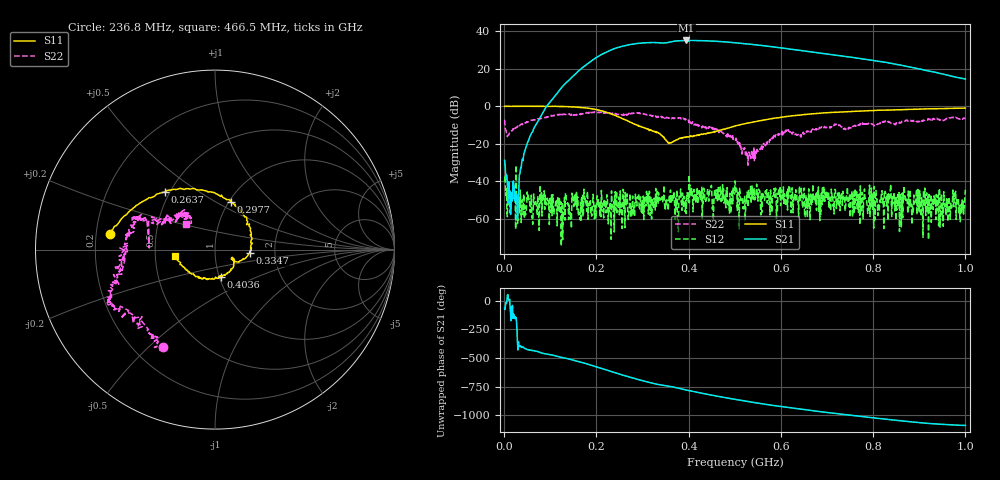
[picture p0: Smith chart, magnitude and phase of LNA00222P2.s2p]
! Created with skrf 1.9.0 (http://scikit-rf.org).
# Hz S RI R 50.0
!freq ReS11 ImS11 ReS21 ImS21 ReS12 ImS12 ReS22 ImS22
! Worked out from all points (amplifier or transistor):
!   1001 points, 1 MHz to 1 GHz, reference 50 ohm
!   highest |S21| = 35.1 dB at 394.6 MHz (marker M1)
!   |S21| within 3 dB of that: 257.7 MHz to 568.8 MHz (311.2 MHz wide, 75.3 % of centre)
!   unconditionally stable (mu >= 1): start of sweep to 86.23 MHz; 258.8 MHz to 400.5 MHz; 400.7 MHz to end of sweep (the widest 3 of 24)
!   at 166.8 MHz: K = 5.09, MAG = 30.7 dB, |S12| = -61.6 dB
!   at 500.5 MHz: K = 1.16, MAG = 34.5 dB, |S12| = -39.9 dB
!   at 1 GHz: K = 2.30, MAG = 23.1 dB, |S12| = -44.6 dB
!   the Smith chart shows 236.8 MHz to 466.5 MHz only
!   S11 on the Smith chart (normalised r, x): 236.8 MHz: 0.26, +0.07; 263.7 MHz: 0.47, +0.37; 297.7 MHz: 1.02, +0.59; 334.7 MHz: 1.48, -0.06; 403.6 MHz: 1.02, -0.32; 466.5 MHz: 0.63, -0.05
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1000000  0.99 0.0159  0.0163 -0.0322  -0.00855 -0.00515  0.3152 0.3006
1.08892e8  0.5062 -0.8523  -0.8578 -1.586  -0.00194 -0.000201  0.4173 -0.3749
1.67833e8  -0.2612 -0.8861  -10.25 -0.3627  0.003 -0.00237  0.0365 -0.6341
2.06794e8  -0.663 -0.4004  -15.89 15.86  0.00225 -0.00158  -0.1704 -0.6467
2.36764e8  -0.5848 0.086  -3.59 33.33  0.00153 -0.000224  -0.2909 -0.5427
2.63737e8  -0.2812 0.3203  19.06 37  -0.00197 -0.00201  -0.4619 -0.3838
2.97703e8  0.0894 0.2675  44.03 19.56  0.000102 0.00149  -0.5769 -0.2524
3.17683e8  0.1944 0.1252  49.68 2.912  -0.0016 0.00235  -0.5431 -0.1568
3.34666e8  0.1953 -0.0201  48.19 -10.68  -0.00042 0.00495  -0.5092 -0.0572
3.68632e8  0.1054 -0.0556  44.01 -31.36  -0.000374 0.00441  -0.4689 0.1372
3.94606e8  0.0632 -0.1353  28.82 -48.94  0.00117 0.000709  -0.4083 0.1651
4.03597e8  0.0324 -0.1519  21.55 -52.4  -0.00263 0.00322  -0.3545 0.1826
4.33567e8  -0.1115 -0.1463  -1.716 -55.45  0.00422 0.00384  -0.1885 0.1953
4.66534e8  -0.2228 -0.0357  -24.58 -47.04  -0.00255 0.0019  -0.1611 0.1424
5.005e8  -0.2549 0.1467  -39.04 -30.44  0.00907 -0.00459  -0.1122 0.0585
5.4046e8  -0.1785 0.3366  -43.21 -8.641  0.00325 -0.000285  -0.0573 0.0148
5.88412e8  0.028 0.4842  -35.68 11.91  0.0013 -0.00641  -0.1381 -0.1001
6.67333e8  0.3981 0.4829  -13.63 24.22  -0.00198 -0.00379  -0.2289 -0.0441
7.53247e8  0.6701 0.2727  4.091 19.73  -0.00282 -0.00253  -0.2835 -0.0109
8.34166e8  0.7895 0.0136  10.69 9.465  -0.00288 -0.00248  -0.3777 -0.0228
9.13087e8  0.8062 -0.2598  8.947 1.515  -0.0037 -0.000743  -0.4117 0.1335
1e9  0.7222 -0.522  5.238 -0.9381  -0.00565 0.00172  -0.3613 0.2938
